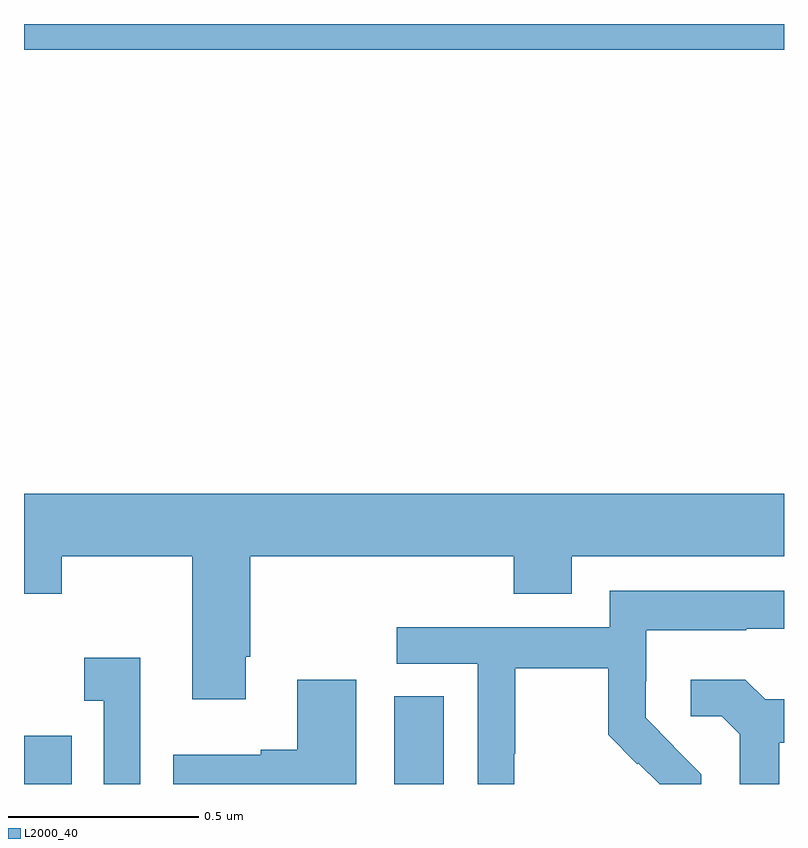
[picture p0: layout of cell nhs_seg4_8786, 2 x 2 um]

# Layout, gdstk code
import gdstk
lib = gdstk.Library(unit=1e-6, precision=1e-09)
def R(c, l, rs):  # rectangles x0, y0, x1, y1
    for r in rs: c.add(gdstk.rectangle(r[:2], r[2:], *l))
def P(c, l, *ps):  # polygons
    for p in ps: c.add(gdstk.Polygon(p, *l))
L2000_40 = (2000, 40)

nhs_seg4_8786 = lib.new_cell('nhs_seg4_8786')
R(nhs_seg4_8786, L2000_40, [(219,782.9,219.125,783.027), (219.974,782.9,220.105,783.131), (219,784.832,221,784.9)])
P(nhs_seg4_8786, L2000_40, [(219.583,783.235),(219.596,783.235),(219.596,783.5),(220.289,783.5),(220.289,783.401),(220.441,783.401),(220.441,783.5),(221,783.5),(221,783.664),(219,783.664),(219,783.401),(219.099,783.401),(219.099,783.5),(219.443,783.5),(219.443,783.123),(219.583,783.123)],
  [(220.29,782.98),(220.293,782.98),(220.293,783.204),(220.537,783.204),(220.537,783.029),(220.614,782.952),(220.617,782.955),(220.673,782.9),(220.782,782.9),(220.782,782.926),(220.709,782.999),(220.71,783),(220.636,783.074),(220.636,783.171),(220.638,783.171),(220.638,783.305),(220.901,783.305),(220.901,783.309),(221,783.309),(221,783.409),(220.542,783.409),(220.542,783.312),(219.981,783.312),(219.981,783.216),(220.194,783.216),(220.194,782.9),(220.29,782.9)],
  [(219.306,783.232),(219.159,783.232),(219.159,783.119),(219.21,783.119),(219.21,782.9),(219.306,782.9)],
  [(219.874,783.175),(219.719,783.175),(219.719,782.99),(219.623,782.99),(219.623,782.977),(219.393,782.977),(219.393,782.9),(219.874,782.9)],
  [(220.987,783.008),(221,783.008),(221,783.123),(220.95,783.123),(220.898,783.175),(220.755,783.175),(220.755,783.078),(220.836,783.078),(220.883,783.031),(220.883,782.9),(220.987,782.9)])

lib.write_gds('nhs_seg4_8786.gds')
